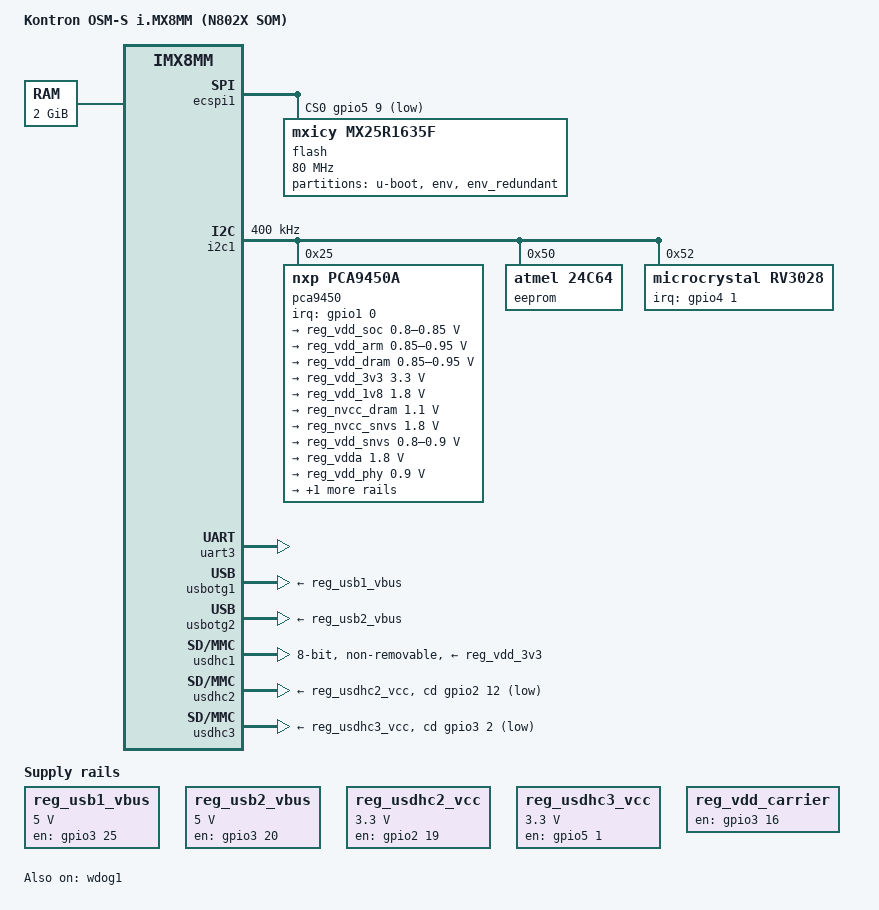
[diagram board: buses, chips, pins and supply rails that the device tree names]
// SPDX-License-Identifier: GPL-2.0+ OR MIT
/*
 * Copyright (C) 2022 Kontron Electronics GmbH
 */

#include <dt-bindings/gpio/gpio.h>
#include <dt-bindings/interrupt-controller/irq.h>
#include "imx8mm.dtsi"

/ {
	model = "Kontron OSM-S i.MX8MM (N802X SOM)";
	compatible = "kontron,imx8mm-osm-s", "fsl,imx8mm";

	aliases {
		rtc0 = &rv3028;
		rtc1 = &snvs_rtc;
	};

	memory@40000000 {
		device_type = "memory";
		/*
		 * There are multiple SoM flavors with different DDR sizes.
		 * The smallest is 1GB. For larger sizes the bootloader will
		 * update the reg property.
		 */
		reg = <0x0 0x40000000 0 0x80000000>;
	};

	chosen {
		stdout-path = &uart3;
	};

	reg_usb1_vbus: regulator-usb1-vbus {
		compatible = "regulator-fixed";
		pinctrl-names = "default";
		pinctrl-0 = <&pinctrl_reg_usb1_vbus>;
		enable-active-high;
		gpio = <&gpio3 25 GPIO_ACTIVE_HIGH>;
		regulator-min-microvolt = <5000000>;
		regulator-max-microvolt = <5000000>;
		regulator-name = "VBUS_USB_A";
	};

	reg_usb2_vbus: regulator-usb2-vbus {
		compatible = "regulator-fixed";
		pinctrl-names = "default";
		pinctrl-0 = <&pinctrl_reg_usb2_vbus>;
		enable-active-high;
		gpio = <&gpio3 20 GPIO_ACTIVE_HIGH>;
		regulator-min-microvolt = <5000000>;
		regulator-max-microvolt = <5000000>;
		regulator-name = "VBUS_USB_B";
	};

	reg_usdhc2_vcc: regulator-usdhc2-vcc {
		compatible = "regulator-fixed";
		pinctrl-names = "default";
		pinctrl-0 = <&pinctrl_reg_usdhc2_vcc>;
		enable-active-high;
		gpio = <&gpio2 19 GPIO_ACTIVE_HIGH>;
		regulator-min-microvolt = <3300000>;
		regulator-max-microvolt = <3300000>;
		regulator-name = "VCC_SDIO_A";
	};

	reg_usdhc3_vcc: regulator-usdhc3-vcc {
		compatible = "regulator-fixed";
		pinctrl-names = "default";
		pinctrl-0 = <&pinctrl_reg_usdhc3_vcc>;
		enable-active-high;
		gpio = <&gpio5 1 GPIO_ACTIVE_HIGH>;
		regulator-min-microvolt = <3300000>;
		regulator-max-microvolt = <3300000>;
		regulator-name = "VCC_SDIO_B";
	};

	reg_vdd_carrier: regulator-vdd-carrier {
		compatible = "regulator-fixed";
		pinctrl-names = "default";
		pinctrl-0 = <&pinctrl_reg_vdd_carrier>;
		gpio = <&gpio3 16 GPIO_ACTIVE_HIGH>;
		enable-active-high;
		regulator-always-on;
		regulator-boot-on;
		regulator-name = "VDD_CARRIER";

		regulator-state-standby {
			regulator-on-in-suspend;
		};

		regulator-state-mem {
			regulator-off-in-suspend;
		};

		regulator-state-disk {
			regulator-off-in-suspend;
		};
	};
};

&A53_0 {
	cpu-supply = <&reg_vdd_arm>;
};

&A53_1 {
	cpu-supply = <&reg_vdd_arm>;
};

&A53_2 {
	cpu-supply = <&reg_vdd_arm>;
};

&A53_3 {
	cpu-supply = <&reg_vdd_arm>;
};

&ddrc {
	operating-points-v2 = <&ddrc_opp_table>;

	ddrc_opp_table: opp-table {
		compatible = "operating-points-v2";

		opp-100000000 {
			opp-hz = /bits/ 64 <100000000>;
		};

		opp-750000000 {
			opp-hz = /bits/ 64 <750000000>;
		};
	};
};

&ecspi1 {
	pinctrl-names = "default";
	pinctrl-0 = <&pinctrl_ecspi1>;
	cs-gpios = <&gpio5 9 GPIO_ACTIVE_LOW>;
	status = "okay";

	flash@0 {
		compatible = "mxicy,mx25r1635f", "jedec,spi-nor";
		spi-max-frequency = <80000000>;
		reg = <0>;

		partitions {
			compatible = "fixed-partitions";
			#address-cells = <1>;
			#size-cells = <1>;

			partition@0 {
				label = "u-boot";
				reg = <0x0 0x1e0000>;
			};

			partition@1e0000 {
				label = "env";
				reg = <0x1e0000 0x10000>;
			};

			partition@1f0000 {
				label = "env_redundant";
				reg = <0x1f0000 0x10000>;
			};
		};
	};
};

&ecspi2 {
	pinctrl-names = "default";
	pinctrl-0 = <&pinctrl_ecspi2>, <&pinctrl_ecspi2_gpio>;
	cs-gpios = <&gpio5 13 GPIO_ACTIVE_LOW>;
};

&ecspi3 {
	pinctrl-names = "default";
	pinctrl-0 = <&pinctrl_ecspi3>;
	cs-gpios = <&gpio5 25 GPIO_ACTIVE_LOW>;
};

&gpio1 {
	pinctrl-names = "default";
	pinctrl-0 = <&pinctrl_gpio1>;
	gpio-line-names = "", "GPIO_A_0", "", "GPIO_A_1",
			  "", "GPIO_A_2", "GPIO_A_3", "GPIO_A_4",
			  "GPIO_A_5", "GPIO_A_6", "GPIO_A_7", "GPIO_B_0",
			  "GPIO_B_1", "USB_A_OC#", "CAM_MCK", "USB_B_OC#",
			  "ETH_MDC", "ETH_MDIO", "ETH_A_(S)(R)(G)MII_TXD3",
			  "ETH_A_(S)(R)(G)MII_TXD2", "ETH_A_(S)(R)(G)MII_TXD1",
			  "ETH_A_(S)(R)(G)MII_TXD0", "ETH_A_(R)(G)MII_TX_EN(_ER)",
			  "ETH_A_(R)(G)MII_TX_CLK", "ETH_A_(R)(G)MII_RX_DV(_ER)",
			  "ETH_A_(R)(G)MII_RX_CLK", "ETH_A_(S)(R)(G)MII_RXD0",
			  "ETH_A_(S)(R)(G)MII_RXD1", "ETH_A_(R)(G)MII_RXD2",
			  "ETH_A_(R)(G)MII_RXD3";
};

&gpio2 {
	gpio-line-names = "", "", "", "",
			  "", "", "", "",
			  "", "", "", "",
			  "SDIO_A_CD#", "SDIO_A_CLK", "SDIO_A_CMD", "SDIO_A_D0",
			  "SDIO_A_D1", "SDIO_A_D2", "SDIO_A_D3", "SDIO_A_PWR_EN",
			  "SDIO_A_WP";
};

&gpio3 {
	pinctrl-names = "default";
	pinctrl-0 = <&pinctrl_gpio3>;
	gpio-line-names = "GPIO_C_5", "GPIO_C_4", "SDIO_B_CD#", "SDIO_B_D5",
			  "SDIO_B_D6", "SDIO_B_D7", "GPIO_C_0", "GPIO_C_1",
			  "GPIO_C_2", "GPIO_C_3", "SDIO_B_D0", "SDIO_B_D1",
			  "SDIO_B_D2", "SDIO_B_D3", "", "SDIO_B_D4",
			  "CARRIER_PWR_EN", "SDIO_B_CLK", "SDIO_B_CMD", "GPIO_B_2",
			  "USB_B_EN", "GPIO_B_3", "PCIe_CLKREQ#", "PCIe_A_PERST#",
			  "PCIe_WAKE#", "USB_A_EN";
};

&gpio4 {
	pinctrl-names = "default";
	pinctrl-0 = <&pinctrl_gpio4>;
	gpio-line-names = "GPIO_C_7", "", "I2S_A_DATA_IN", "I2S_B_DATA_IN",
			  "GPIO_B_4", "BOOT_SEL0#", "BOOT_SEL1#", "",
			  "", "", "I2S_LRCLK", "I2S_BITCLK",
			  "I2S_A_DATA_OUT", "I2S_B_DATA_OUT", "GPIO_B_5", "GPIO_B_6",
			  "GPIO_B_7", "SPI_A_/WP_(IO2)", "SPI_A_/HOLD_(IO3)", "GPIO_C_6",
			  "I2S_MCLK", "UART_A_TX", "UART_A_RX", "UART_A_CTS",
			  "UART_A_RTS", "", "", "",
			  "PCIe_SM_ALERT", "UART_B_RTS", "UART_B_CTS", "UART_B_RX";
};

&gpio5 {
	gpio-line-names = "UART_B_TX", "SDIO_B_PWR_EN", "SDIO_B_WP", "PWM_2",
			  "PWM_1", "PWM_0", "", "",
			  "", "", "SPI_A_SCK", "SPI_A_SDO_(IO1)",
			  "SPI_A_SCK", "SPI_A_CS0#", "", "",
			  "I2C_A_SCL", "I2C_A_SDA", "I2C_B_SCL", "I2C_B_SDA",
			  "PCIe_SMCLK", "PCIe_SMDAT", "SPI_B_SCK", "SPI_B_SDO",
			  "SPI_B_SDI", "SPI_B_CS0#", "UART_CON_RX", "UART_CON_TX",
			  "UART_C_RX", "UART_C_TX";
};

&i2c1 {
	clock-frequency = <400000>;
	pinctrl-names = "default";
	pinctrl-0 = <&pinctrl_i2c1>;
	status = "okay";

	pca9450: pmic@25 {
		compatible = "nxp,pca9450a";
		reg = <0x25>;
		pinctrl-names = "default";
		pinctrl-0 = <&pinctrl_pmic>;
		interrupt-parent = <&gpio1>;
		interrupts = <0 IRQ_TYPE_LEVEL_LOW>;

		regulators {
			reg_vdd_soc: BUCK1 {
				regulator-name = "+0V8_VDD_SOC (BUCK1)";
				regulator-min-microvolt = <800000>;
				regulator-max-microvolt = <850000>;
				regulator-boot-on;
				regulator-always-on;
				regulator-ramp-delay = <3125>;
				nxp,dvs-run-voltage = <850000>;
				nxp,dvs-standby-voltage = <800000>;
			};

			reg_vdd_arm: BUCK2 {
				regulator-name = "+0V9_VDD_ARM (BUCK2)";
				regulator-min-microvolt = <850000>;
				regulator-max-microvolt = <950000>;
				regulator-boot-on;
				regulator-always-on;
				regulator-ramp-delay = <3125>;
				nxp,dvs-run-voltage = <950000>;
				nxp,dvs-standby-voltage = <850000>;
			};

			reg_vdd_dram: BUCK3 {
				regulator-name = "+0V9_VDD_DRAM&PU (BUCK3)";
				regulator-min-microvolt = <850000>;
				regulator-max-microvolt = <950000>;
				regulator-boot-on;
				regulator-always-on;
			};

			reg_vdd_3v3: BUCK4 {
				regulator-name = "+3V3 (BUCK4)";
				regulator-min-microvolt = <3300000>;
				regulator-max-microvolt = <3300000>;
				regulator-boot-on;
				regulator-always-on;
			};

			reg_vdd_1v8: BUCK5 {
				regulator-name = "+1V8 (BUCK5)";
				regulator-min-microvolt = <1800000>;
				regulator-max-microvolt = <1800000>;
				regulator-boot-on;
				regulator-always-on;
			};

			reg_nvcc_dram: BUCK6 {
				regulator-name = "+1V1_NVCC_DRAM (BUCK6)";
				regulator-min-microvolt = <1100000>;
				regulator-max-microvolt = <1100000>;
				regulator-boot-on;
				regulator-always-on;
			};

			reg_nvcc_snvs: LDO1 {
				regulator-name = "+1V8_NVCC_SNVS (LDO1)";
				regulator-min-microvolt = <1800000>;
				regulator-max-microvolt = <1800000>;
				regulator-boot-on;
				regulator-always-on;
			};

			reg_vdd_snvs: LDO2 {
				regulator-name = "+0V8_VDD_SNVS (LDO2)";
				regulator-min-microvolt = <800000>;
				regulator-max-microvolt = <900000>;
				regulator-boot-on;
				regulator-always-on;
			};

			reg_vdda: LDO3 {
				regulator-name = "+1V8_VDDA (LDO3)";
				regulator-min-microvolt = <1800000>;
				regulator-max-microvolt = <1800000>;
				regulator-boot-on;
				regulator-always-on;
			};

			reg_vdd_phy: LDO4 {
				regulator-name = "+0V9_VDD_PHY (LDO4)";
				regulator-min-microvolt = <900000>;
				regulator-max-microvolt = <900000>;
				regulator-boot-on;
				regulator-always-on;
			};

			reg_nvcc_sd: LDO5 {
				regulator-name = "NVCC_SD (LDO5)";
				regulator-min-microvolt = <1800000>;
				regulator-max-microvolt = <3300000>;
				sd-vsel-gpios = <&gpio1 4 GPIO_ACTIVE_HIGH>;
			};
		};
	};

	eeprom: eeprom@50 {
		compatible = "atmel,24c64";
		reg = <0x50>;
		address-width = <16>;
		pagesize = <32>;
		size = <8192>;
	};

	rv3028: rtc@52 {
		compatible = "microcrystal,rv3028";
		reg = <0x52>;
		pinctrl-names = "default";
		pinctrl-0 = <&pinctrl_rtc>;
		interrupts-extended = <&gpio4 1 IRQ_TYPE_LEVEL_LOW>;
	};
};

&i2c2 {
	pinctrl-names = "default";
	pinctrl-0 = <&pinctrl_i2c2>;
};

&i2c3 {
	pinctrl-names = "default";
	pinctrl-0 = <&pinctrl_i2c3>;
};

&i2c4 {
	pinctrl-names = "default";
	pinctrl-0 = <&pinctrl_i2c4>;
};

&pwm1 {
	pinctrl-names = "default";
	pinctrl-0 = <&pinctrl_pwm1>;
};

&pwm2 {
	pinctrl-names = "default";
	pinctrl-0 = <&pinctrl_pwm2>;
};

&pwm3 {
	pinctrl-names = "default";
	pinctrl-0 = <&pinctrl_pwm3>;
};

&uart1 {
	pinctrl-names = "default";
	pinctrl-0 = <&pinctrl_uart1>;
};

&uart2 {
	pinctrl-names = "default";
	pinctrl-0 = <&pinctrl_uart2>;
};

&uart3 { /* console */
	pinctrl-names = "default";
	pinctrl-0 = <&pinctrl_uart3>;
	status = "okay";
};

&uart4 {
	pinctrl-names = "default";
	pinctrl-0 = <&pinctrl_uart4>;
};

&usbotg1 {
	pinctrl-names = "default";
	pinctrl-0 = <&pinctrl_usb1>;
	vbus-supply = <&reg_usb1_vbus>;
};

&usbotg2 {
	pinctrl-names = "default";
	pinctrl-0 = <&pinctrl_usb2>;
	vbus-supply = <&reg_usb2_vbus>;
};

&usdhc1 {
	pinctrl-names = "default", "state_100mhz", "state_200mhz";
	pinctrl-0 = <&pinctrl_usdhc1>;
	pinctrl-1 = <&pinctrl_usdhc1_100mhz>;
	pinctrl-2 = <&pinctrl_usdhc1_200mhz>;
	vmmc-supply = <&reg_vdd_3v3>;
	vqmmc-supply = <&reg_vdd_1v8>;
	bus-width = <8>;
	non-removable;
	status = "okay";
};

&usdhc2 {
	pinctrl-names = "default", "state_100mhz", "state_200mhz";
	pinctrl-0 = <&pinctrl_usdhc2>, <&pinctrl_usdhc2_gpio>;
	pinctrl-1 = <&pinctrl_usdhc2_100mhz>, <&pinctrl_usdhc2_gpio>;
	pinctrl-2 = <&pinctrl_usdhc2_200mhz>, <&pinctrl_usdhc2_gpio>;
	vmmc-supply = <&reg_usdhc2_vcc>;
	vqmmc-supply = <&reg_nvcc_sd>;
	cd-gpios = <&gpio2 12 GPIO_ACTIVE_LOW>;
};

&usdhc3 {
	pinctrl-names = "default", "state_100mhz", "state_200mhz";
	pinctrl-0 = <&pinctrl_usdhc3>, <&pinctrl_usdhc3_gpio>;
	pinctrl-1 = <&pinctrl_usdhc3_100mhz>, <&pinctrl_usdhc3_gpio>;
	pinctrl-2 = <&pinctrl_usdhc3_200mhz>, <&pinctrl_usdhc3_gpio>;
	vmmc-supply = <&reg_usdhc3_vcc>;
	vqmmc-supply = <&reg_nvcc_sd>;
	cd-gpios = <&gpio3 2 GPIO_ACTIVE_LOW>;
};

&wdog1 {
	pinctrl-names = "default";
	pinctrl-0 = <&pinctrl_wdog>;
	fsl,ext-reset-output;
	status = "okay";
};

&iomuxc {
	pinctrl_csi_mck: csimckgrp {
		fsl,pins = <
			MX8MM_IOMUXC_GPIO1_IO14_CCMSRCGPCMIX_CLKO1	0x59 /* CAM_MCK */
		>;
	};

	pinctrl_ecspi1: ecspi1grp {
		fsl,pins = <
			MX8MM_IOMUXC_ECSPI1_MISO_ECSPI1_MISO		0x82
			MX8MM_IOMUXC_ECSPI1_MOSI_ECSPI1_MOSI		0x82
			MX8MM_IOMUXC_ECSPI1_SCLK_ECSPI1_SCLK		0x82
			MX8MM_IOMUXC_ECSPI1_SS0_GPIO5_IO9		0x19
		>;
	};

	pinctrl_ecspi2: ecspi2grp {
		fsl,pins = <
			MX8MM_IOMUXC_ECSPI2_MISO_ECSPI2_MISO		0x82 /* SPI_A_SDI_(IO0) */
			MX8MM_IOMUXC_ECSPI2_MOSI_ECSPI2_MOSI		0x82 /* SPI_A_SDO_(IO1) */
			MX8MM_IOMUXC_ECSPI2_SCLK_ECSPI2_SCLK		0x82 /* SPI_A_SCK */
			MX8MM_IOMUXC_ECSPI2_SS0_GPIO5_IO13		0x19 /* SPI_A_CS0# */
		>;
	};

	pinctrl_ecspi2_gpio: ecspi2gpiogrp {
		fsl,pins = <
			MX8MM_IOMUXC_SAI1_TXD5_GPIO4_IO17		0x19 /* SPI_A_/WP_(IO2) */
			MX8MM_IOMUXC_SAI1_TXD6_GPIO4_IO18		0x19 /* SPI_A_/HOLD_(IO3) */
		>;
	};

	pinctrl_ecspi3: ecspi3grp {
		fsl,pins = <
			MX8MM_IOMUXC_UART2_RXD_ECSPI3_MISO		0x82 /* SPI_B_SDI */
			MX8MM_IOMUXC_UART1_TXD_ECSPI3_MOSI		0x82 /* SPI_B_SDO */
			MX8MM_IOMUXC_UART1_RXD_ECSPI3_SCLK		0x82 /* SPI_B_SCK */
			MX8MM_IOMUXC_UART2_TXD_GPIO5_IO25		0x19 /* SPI_B_CS0# */
		>;
	};

	pinctrl_enet_rgmii: enetrgmiigrp {
		fsl,pins = <
			MX8MM_IOMUXC_ENET_MDC_ENET1_MDC			0x03 /* ETH_MDC */
			MX8MM_IOMUXC_ENET_MDIO_ENET1_MDIO		0x03 /* ETH_MDIO */
			MX8MM_IOMUXC_ENET_TD3_ENET1_RGMII_TD3		0x1f /* ETH_A_(S)(R)(G)MII_TXD3 */
			MX8MM_IOMUXC_ENET_TD2_ENET1_RGMII_TD2		0x1f /* ETH_A_(S)(R)(G)MII_TXD2 */
			MX8MM_IOMUXC_ENET_TD1_ENET1_RGMII_TD1		0x1f /* ETH_A_(S)(R)(G)MII_TXD1 */
			MX8MM_IOMUXC_ENET_TD0_ENET1_RGMII_TD0		0x1f /* ETH_A_(S)(R)(G)MII_TXD0 */
			MX8MM_IOMUXC_ENET_RD3_ENET1_RGMII_RD3		0x91 /* ETH_A_(R)(G)MII_RXD3 */
			MX8MM_IOMUXC_ENET_RD2_ENET1_RGMII_RD2		0x91 /* ETH_A_(R)(G)MII_RXD2 */
			MX8MM_IOMUXC_ENET_RD1_ENET1_RGMII_RD1		0x91 /* ETH_A_(S)(R)(G)MII_RXD1 */
			MX8MM_IOMUXC_ENET_RD0_ENET1_RGMII_RD0		0x91 /* ETH_A_(S)(R)(G)MII_RXD0 */
			MX8MM_IOMUXC_ENET_TXC_ENET1_RGMII_TXC		0x1f /* ETH_A_(R)(G)MII_TX_CLK */
			MX8MM_IOMUXC_ENET_RXC_ENET1_RGMII_RXC		0x91 /* ETH_A_(R)(G)MII_RX_CLK */
			MX8MM_IOMUXC_ENET_RX_CTL_ENET1_RGMII_RX_CTL	0x91 /* ETH_A_(R)(G)MII_RX_DV(_ER) */
			MX8MM_IOMUXC_ENET_TX_CTL_ENET1_RGMII_TX_CTL	0x1f /* ETH_A_(R)(G)MII_TX_EN(_ER) */
		>;
	};

	pinctrl_enet_rmii: enetrmiigrp {
		fsl,pins = <
			MX8MM_IOMUXC_ENET_MDC_ENET1_MDC			0x03 /* ETH_MDC */
			MX8MM_IOMUXC_ENET_MDIO_ENET1_MDIO		0x03 /* ETH_MDIO */
			MX8MM_IOMUXC_ENET_TD2_ENET1_TX_CLK		0x4000001f /* ETH_A_(S)(R)(G)MII_TXD2 */
			MX8MM_IOMUXC_ENET_TD1_ENET1_RGMII_TD1		0x56 /* ETH_A_(S)(R)(G)MII_TXD1 */
			MX8MM_IOMUXC_ENET_TD0_ENET1_RGMII_TD0		0x56 /* ETH_A_(S)(R)(G)MII_TXD0 */
			MX8MM_IOMUXC_ENET_RD1_ENET1_RGMII_RD1		0x56 /* ETH_A_(S)(R)(G)MII_RXD1 */
			MX8MM_IOMUXC_ENET_RD0_ENET1_RGMII_RD0		0x56 /* ETH_A_(S)(R)(G)MII_RXD0 */
			MX8MM_IOMUXC_ENET_RXC_ENET1_RX_ER		0x56 /* ETH_A_(R)(G)MII_RX_CLK */
			MX8MM_IOMUXC_ENET_RX_CTL_ENET1_RGMII_RX_CTL	0x56 /* ETH_A_(R)(G)MII_RX_DV(_ER) */
			MX8MM_IOMUXC_ENET_TX_CTL_ENET1_RGMII_TX_CTL	0x56 /* ETH_A_(R)(G)MII_TX_EN(_ER) */
		>;
	};

	pinctrl_gpio1: gpio1grp {
		fsl,pins = <
			MX8MM_IOMUXC_GPIO1_IO01_GPIO1_IO1		0x19 /* GPIO_A_0 */
			MX8MM_IOMUXC_GPIO1_IO03_GPIO1_IO3		0x19 /* GPIO_A_1 */
			MX8MM_IOMUXC_GPIO1_IO05_GPIO1_IO5		0x19 /* GPIO_A_2 */
			MX8MM_IOMUXC_GPIO1_IO06_GPIO1_IO6		0x19 /* GPIO_A_3 */
			MX8MM_IOMUXC_GPIO1_IO07_GPIO1_IO7		0x19 /* GPIO_A_4 */
			MX8MM_IOMUXC_GPIO1_IO08_GPIO1_IO8		0x19 /* GPIO_A_5 */
			MX8MM_IOMUXC_GPIO1_IO09_GPIO1_IO9		0x19 /* GPIO_A_6 */
			MX8MM_IOMUXC_GPIO1_IO10_GPIO1_IO10		0x19 /* GPIO_A_7 */
			MX8MM_IOMUXC_GPIO1_IO11_GPIO1_IO11		0x19 /* GPIO_B_0 */
			MX8MM_IOMUXC_GPIO1_IO12_GPIO1_IO12		0x19 /* GPIO_B_1 */
		>;
	};

	pinctrl_gpio3: gpio3grp {
		fsl,pins = <
			MX8MM_IOMUXC_NAND_ALE_GPIO3_IO0			0x19 /* GPIO_C_5 */
			MX8MM_IOMUXC_NAND_CE0_B_GPIO3_IO1		0x19 /* GPIO_C_4 */
			MX8MM_IOMUXC_NAND_DATA00_GPIO3_IO6		0x19 /* GPIO_C_0 */
			MX8MM_IOMUXC_NAND_DATA01_GPIO3_IO7		0x19 /* GPIO_C_1 */
			MX8MM_IOMUXC_NAND_DATA02_GPIO3_IO8		0x19 /* GPIO_C_2 */
			MX8MM_IOMUXC_NAND_DATA03_GPIO3_IO9		0x19 /* GPIO_C_3 */
			MX8MM_IOMUXC_SAI5_RXFS_GPIO3_IO19		0x19 /* GPIO_B_2 */
			MX8MM_IOMUXC_SAI5_RXD0_GPIO3_IO21		0x19 /* GPIO_B_3 */
		>;
	};

	pinctrl_gpio4: gpio4grp {
		fsl,pins = <
			MX8MM_IOMUXC_SAI1_RXFS_GPIO4_IO0		0x19 /* GPIO_C_7 */
			MX8MM_IOMUXC_SAI1_RXD2_GPIO4_IO4		0x19 /* GPIO_B_4 */
			MX8MM_IOMUXC_SAI1_RXD3_GPIO4_IO5		0x19 /* BOOT_SEL0# */
			MX8MM_IOMUXC_SAI1_RXD4_GPIO4_IO6		0x19 /* BOOT_SEL1# */
			MX8MM_IOMUXC_SAI1_TXD2_GPIO4_IO14		0x19 /* GPIO_B_5 */
			MX8MM_IOMUXC_SAI1_TXD3_GPIO4_IO15		0x19 /* GPIO_B_6 */
			MX8MM_IOMUXC_SAI1_TXD4_GPIO4_IO16		0x19 /* GPIO_B_7 */
			MX8MM_IOMUXC_SAI1_TXD7_GPIO4_IO19		0x19 /* GPIO_C_6 */
		>;
	};

	pinctrl_i2c1: i2c1grp {
		fsl,pins = <
			MX8MM_IOMUXC_I2C1_SCL_I2C1_SCL			0x40000083
			MX8MM_IOMUXC_I2C1_SDA_I2C1_SDA			0x40000083
		>;
	};

	pinctrl_i2c2: i2c2grp {
		fsl,pins = <
			MX8MM_IOMUXC_I2C2_SCL_I2C2_SCL			0x40000083 /* I2C_A_SCL */
			MX8MM_IOMUXC_I2C2_SDA_I2C2_SDA			0x40000083 /* I2C_A_SDA */
		>;
	};

	pinctrl_i2c3: i2c3grp {
		fsl,pins = <
			MX8MM_IOMUXC_I2C3_SCL_I2C3_SCL			0x40000083 /* I2C_B_SCL */
			MX8MM_IOMUXC_I2C3_SDA_I2C3_SDA			0x40000083 /* I2C_B_SDA */
		>;
	};

	pinctrl_i2c4: i2c4grp {
		fsl,pins = <
			MX8MM_IOMUXC_I2C4_SCL_I2C4_SCL			0x40000083 /* PCIe_SMCLK and I2C_CAM_SCL/CSI_TX_P */
			MX8MM_IOMUXC_I2C4_SDA_I2C4_SDA			0x40000083 /* PCIe_SMDAT and I2C_CAM_SDA/CSI_TX_N */
		>;
	};

	pinctrl_pcie: pciegrp {
		fsl,pins = <
			MX8MM_IOMUXC_SAI5_RXD1_GPIO3_IO22		0x19 /* PCIe_CLKREQ# */
			MX8MM_IOMUXC_SAI5_RXD2_GPIO3_IO23		0x19 /* PCIe_A_PERST# */
			MX8MM_IOMUXC_SAI5_RXD3_GPIO3_IO24		0x19 /* PCIe_WAKE# */
			MX8MM_IOMUXC_SAI3_RXFS_GPIO4_IO28		0x19 /* PCIe_SM_ALERT */
		>;
	};

	pinctrl_pmic: pmicgrp {
		fsl,pins = <
			MX8MM_IOMUXC_GPIO1_IO00_GPIO1_IO0		0x141
		>;
	};

	pinctrl_pwm1: pwm1grp {
		fsl,pins = <
			MX8MM_IOMUXC_SPDIF_EXT_CLK_PWM1_OUT		0x19 /* PWM_0 */
		>;
	};

	pinctrl_pwm2: pwm2grp {
		fsl,pins = <
			MX8MM_IOMUXC_SPDIF_RX_PWM2_OUT			0x19 /* PWM_1 */
		>;
	};

	pinctrl_pwm3: pwm3grp {
		fsl,pins = <
			MX8MM_IOMUXC_SPDIF_TX_PWM3_OUT			0x19 /* PWM_2 */
		>;
	};

	pinctrl_reg_usb1_vbus: regusb1vbusgrp {
		fsl,pins = <
			MX8MM_IOMUXC_SAI5_MCLK_GPIO3_IO25		0x19 /* USB_A_EN */
		>;
	};

	pinctrl_reg_usb2_vbus: regusb2vbusgrp {
		fsl,pins = <
			MX8MM_IOMUXC_SAI5_RXC_GPIO3_IO20		0x19 /* USB_B_EN */
		>;
	};

	pinctrl_reg_usdhc2_vcc: regusdhc2vccgrp {
		fsl,pins = <
			MX8MM_IOMUXC_SD2_RESET_B_GPIO2_IO19		0x19 /* SDIO_A_PWR_EN */
		>;
	};

	pinctrl_reg_usdhc3_vcc: regusdhc3vccgrp {
		fsl,pins = <
			MX8MM_IOMUXC_SAI3_TXD_GPIO5_IO1			0x19 /* SDIO_B_PWR_EN */
		>;
	};

	pinctrl_reg_vdd_carrier: regvddcarriergrp {
		fsl,pins = <
			MX8MM_IOMUXC_NAND_READY_B_GPIO3_IO16		0x19 /* CARRIER_PWR_EN */
		>;
	};

	pinctrl_rtc: rtcgrp {
		fsl,pins = <
			MX8MM_IOMUXC_SAI1_RXC_GPIO4_IO1			0x19
		>;
	};

	pinctrl_sai1: sai1grp {
		fsl,pins = <
			MX8MM_IOMUXC_SAI1_RXD0_SAI1_RX_DATA0		0xd6 /* I2S_A_DATA_IN */
			MX8MM_IOMUXC_SAI1_TXD0_SAI1_TX_DATA0		0xd6 /* I2S_A_DATA_OUT */
			MX8MM_IOMUXC_SAI1_RXD1_SAI1_RX_DATA1		0xd6 /* I2S_B_DATA_IN */
			MX8MM_IOMUXC_SAI1_TXD1_SAI1_TX_DATA1		0xd6 /* I2S_B_DATA_OUT */
			MX8MM_IOMUXC_SAI1_MCLK_SAI1_MCLK		0xd6 /* I2S_MCLK */
			MX8MM_IOMUXC_SAI1_TXFS_SAI1_TX_SYNC		0xd6 /* I2S_LRCLK */
			MX8MM_IOMUXC_SAI1_TXC_SAI1_TX_BCLK		0xd6 /* I2S_BITCLK */
		>;
	};

	pinctrl_uart1: uart1grp {
		fsl,pins = <
			MX8MM_IOMUXC_SAI2_RXC_UART1_DCE_RX		0x0 /* UART_A_RX */
			MX8MM_IOMUXC_SAI2_RXFS_UART1_DCE_TX		0x0 /* UART_A_TX */
			MX8MM_IOMUXC_SAI2_RXD0_UART1_DCE_RTS_B		0x0 /* UART_A_CTS */
			MX8MM_IOMUXC_SAI2_TXFS_UART1_DCE_CTS_B		0x0 /* UART_A_RTS */
		>;
	};

	pinctrl_uart2: uart2grp {
		fsl,pins = <
			MX8MM_IOMUXC_SAI3_TXFS_UART2_DCE_RX		0x0 /* UART_B_RX */
			MX8MM_IOMUXC_SAI3_TXC_UART2_DCE_TX		0x0 /* UART_B_TX */
			MX8MM_IOMUXC_SAI3_RXD_UART2_DCE_RTS_B		0x0 /* UART_B_CTS */
			MX8MM_IOMUXC_SAI3_RXC_UART2_DCE_CTS_B		0x0 /* UART_B_RTS */
		>;
	};

	pinctrl_uart3: uart3grp {
		fsl,pins = <
			MX8MM_IOMUXC_UART3_RXD_UART3_DCE_RX		0x140 /* UART_CON_RX */
			MX8MM_IOMUXC_UART3_TXD_UART3_DCE_TX		0x140 /* UART_CON_TX */
		>;
	};

	pinctrl_uart4: uart4grp {
		fsl,pins = <
			MX8MM_IOMUXC_UART4_RXD_UART4_DCE_RX		0x0 /* UART_C_RX */
			MX8MM_IOMUXC_UART4_TXD_UART4_DCE_TX		0x0 /* UART_C_TX */
		>;
	};

	pinctrl_usb1: usb1grp {
		fsl,pins = <
			MX8MM_IOMUXC_GPIO1_IO13_USB1_OTG_OC		0x19 /* USB_A_OC# */
		>;
	};

	pinctrl_usb2: usb2grp {
		fsl,pins = <
			MX8MM_IOMUXC_GPIO1_IO15_USB2_OTG_OC		0x19 /* USB_B_OC# */
		>;
	};

	pinctrl_usdhc1: usdhc1grp {
		fsl,pins = <
			MX8MM_IOMUXC_SD1_CLK_USDHC1_CLK			0x190
			MX8MM_IOMUXC_SD1_CMD_USDHC1_CMD			0x1d0
			MX8MM_IOMUXC_SD1_DATA0_USDHC1_DATA0		0x1d0
			MX8MM_IOMUXC_SD1_DATA1_USDHC1_DATA1		0x1d0
			MX8MM_IOMUXC_SD1_DATA2_USDHC1_DATA2		0x1d0
			MX8MM_IOMUXC_SD1_DATA3_USDHC1_DATA3		0x1d0
			MX8MM_IOMUXC_SD1_DATA4_USDHC1_DATA4		0x1d0
			MX8MM_IOMUXC_SD1_DATA5_USDHC1_DATA5		0x1d0
			MX8MM_IOMUXC_SD1_DATA6_USDHC1_DATA6		0x1d0
			MX8MM_IOMUXC_SD1_DATA7_USDHC1_DATA7		0x1d0
			MX8MM_IOMUXC_SD1_RESET_B_USDHC1_RESET_B		0x019
			MX8MM_IOMUXC_SD1_STROBE_USDHC1_STROBE		0x190
		>;
	};

	pinctrl_usdhc1_100mhz: usdhc1-100mhzgrp {
		fsl,pins = <
			MX8MM_IOMUXC_SD1_CLK_USDHC1_CLK			0x194
			MX8MM_IOMUXC_SD1_CMD_USDHC1_CMD			0x1d4
			MX8MM_IOMUXC_SD1_DATA0_USDHC1_DATA0		0x1d4
			MX8MM_IOMUXC_SD1_DATA1_USDHC1_DATA1		0x1d4
			MX8MM_IOMUXC_SD1_DATA2_USDHC1_DATA2		0x1d4
			MX8MM_IOMUXC_SD1_DATA3_USDHC1_DATA3		0x1d4
			MX8MM_IOMUXC_SD1_DATA4_USDHC1_DATA4		0x1d4
			MX8MM_IOMUXC_SD1_DATA5_USDHC1_DATA5		0x1d4
			MX8MM_IOMUXC_SD1_DATA6_USDHC1_DATA6		0x1d4
			MX8MM_IOMUXC_SD1_DATA7_USDHC1_DATA7		0x1d4
			MX8MM_IOMUXC_SD1_RESET_B_USDHC1_RESET_B		0x019
			MX8MM_IOMUXC_SD1_STROBE_USDHC1_STROBE		0x194
		>;
	};

	pinctrl_usdhc1_200mhz: usdhc1-200mhzgrp {
		fsl,pins = <
			MX8MM_IOMUXC_SD1_CLK_USDHC1_CLK			0x196
			MX8MM_IOMUXC_SD1_CMD_USDHC1_CMD			0x1d6
			MX8MM_IOMUXC_SD1_DATA0_USDHC1_DATA0		0x1d6
			MX8MM_IOMUXC_SD1_DATA1_USDHC1_DATA1		0x1d6
			MX8MM_IOMUXC_SD1_DATA2_USDHC1_DATA2		0x1d6
			MX8MM_IOMUXC_SD1_DATA3_USDHC1_DATA3		0x1d6
			MX8MM_IOMUXC_SD1_DATA4_USDHC1_DATA4		0x1d6
			MX8MM_IOMUXC_SD1_DATA5_USDHC1_DATA5		0x1d6
			MX8MM_IOMUXC_SD1_DATA6_USDHC1_DATA6		0x1d6
			MX8MM_IOMUXC_SD1_DATA7_USDHC1_DATA7		0x1d6
			MX8MM_IOMUXC_SD1_RESET_B_USDHC1_RESET_B		0x019
			MX8MM_IOMUXC_SD1_STROBE_USDHC1_STROBE		0x196
		>;
	};

	pinctrl_usdhc2: usdhc2grp {
		fsl,pins = <
			MX8MM_IOMUXC_SD2_CLK_USDHC2_CLK			0x90 /* SDIO_A_CLK */
			MX8MM_IOMUXC_SD2_CMD_USDHC2_CMD			0x1d0 /* SDIO_A_CMD */
			MX8MM_IOMUXC_SD2_DATA0_USDHC2_DATA0		0x1d0 /* SDIO_A_D0 */
			MX8MM_IOMUXC_SD2_DATA1_USDHC2_DATA1		0x1d0 /* SDIO_A_D1 */
			MX8MM_IOMUXC_SD2_DATA2_USDHC2_DATA2		0x1d0 /* SDIO_A_D2 */
			MX8MM_IOMUXC_SD2_DATA3_USDHC2_DATA3		0x1d0 /* SDIO_A_D3 */
			MX8MM_IOMUXC_SD2_WP_USDHC2_WP			0x400000d6 /* SDIO_A_WP */
			MX8MM_IOMUXC_GPIO1_IO04_USDHC2_VSELECT		0x40000090
		>;
	};

	pinctrl_usdhc2_100mhz: usdhc2-100mhzgrp {
		fsl,pins = <
			MX8MM_IOMUXC_SD2_CLK_USDHC2_CLK			0x94 /* SDIO_A_CLK */
			MX8MM_IOMUXC_SD2_CMD_USDHC2_CMD			0x1d4 /* SDIO_A_CMD */
			MX8MM_IOMUXC_SD2_DATA0_USDHC2_DATA0		0x1d4 /* SDIO_A_D0 */
			MX8MM_IOMUXC_SD2_DATA1_USDHC2_DATA1		0x1d4 /* SDIO_A_D1 */
			MX8MM_IOMUXC_SD2_DATA2_USDHC2_DATA2		0x1d4 /* SDIO_A_D2 */
			MX8MM_IOMUXC_SD2_DATA3_USDHC2_DATA3		0x1d4 /* SDIO_A_D3 */
			MX8MM_IOMUXC_SD2_WP_USDHC2_WP			0x400000d6 /* SDIO_A_WP */
			MX8MM_IOMUXC_GPIO1_IO04_USDHC2_VSELECT		0x40000090
		>;
	};

	pinctrl_usdhc2_200mhz: usdhc2-200mhzgrp {
		fsl,pins = <
			MX8MM_IOMUXC_SD2_CLK_USDHC2_CLK			0x96 /* SDIO_A_CLK */
			MX8MM_IOMUXC_SD2_CMD_USDHC2_CMD			0x1d6 /* SDIO_A_CMD */
			MX8MM_IOMUXC_SD2_DATA0_USDHC2_DATA0		0x1d6 /* SDIO_A_D0 */
			MX8MM_IOMUXC_SD2_DATA1_USDHC2_DATA1		0x1d6 /* SDIO_A_D1 */
			MX8MM_IOMUXC_SD2_DATA2_USDHC2_DATA2		0x1d6 /* SDIO_A_D2 */
			MX8MM_IOMUXC_SD2_DATA3_USDHC2_DATA3		0x1d6 /* SDIO_A_D3 */
			MX8MM_IOMUXC_SD2_WP_USDHC2_WP			0x400000d6 /* SDIO_A_WP */
			MX8MM_IOMUXC_GPIO1_IO04_USDHC2_VSELECT		0x40000090
		>;
	};

	pinctrl_usdhc2_gpio: usdhc2gpiogrp {
		fsl,pins = <
			MX8MM_IOMUXC_SD2_CD_B_GPIO2_IO12		0x19 /* SDIO_A_CD# */
		>;
	};

	pinctrl_usdhc3: usdhc3grp {
		fsl,pins = <
			MX8MM_IOMUXC_NAND_WE_B_USDHC3_CLK		0x90 /* SDIO_B_CLK */
			MX8MM_IOMUXC_NAND_WP_B_USDHC3_CMD		0x90 /* SDIO_B_CMD */
			MX8MM_IOMUXC_NAND_DATA04_USDHC3_DATA0		0x90 /* SDIO_B_D0 */
			MX8MM_IOMUXC_NAND_DATA05_USDHC3_DATA1		0x90 /* SDIO_B_D1 */
			MX8MM_IOMUXC_NAND_DATA06_USDHC3_DATA2		0x90 /* SDIO_B_D2 */
			MX8MM_IOMUXC_NAND_DATA07_USDHC3_DATA3		0x90 /* SDIO_B_D3 */
			MX8MM_IOMUXC_NAND_RE_B_USDHC3_DATA4		0x90 /* SDIO_B_D4 */
			MX8MM_IOMUXC_NAND_CE2_B_USDHC3_DATA5		0x90 /* SDIO_B_D5 */
			MX8MM_IOMUXC_NAND_CE3_B_USDHC3_DATA6		0x90 /* SDIO_B_D6 */
			MX8MM_IOMUXC_NAND_CLE_USDHC3_DATA7		0x90 /* SDIO_B_D7 */
		>;
	};

	pinctrl_usdhc3_100mhz: usdhc3-100mhzgrp {
		fsl,pins = <
			MX8MM_IOMUXC_NAND_WE_B_USDHC3_CLK		0x94 /* SDIO_B_CLK */
			MX8MM_IOMUXC_NAND_WP_B_USDHC3_CMD		0x94 /* SDIO_B_CMD */
			MX8MM_IOMUXC_NAND_DATA04_USDHC3_DATA0		0x94 /* SDIO_B_D0 */
			MX8MM_IOMUXC_NAND_DATA05_USDHC3_DATA1		0x94 /* SDIO_B_D1 */
			MX8MM_IOMUXC_NAND_DATA06_USDHC3_DATA2		0x94 /* SDIO_B_D2 */
			MX8MM_IOMUXC_NAND_DATA07_USDHC3_DATA3		0x94 /* SDIO_B_D3 */
			MX8MM_IOMUXC_NAND_RE_B_USDHC3_DATA4		0x94 /* SDIO_B_D4 */
			MX8MM_IOMUXC_NAND_CE2_B_USDHC3_DATA5		0x94 /* SDIO_B_D5 */
			MX8MM_IOMUXC_NAND_CE3_B_USDHC3_DATA6		0x94 /* SDIO_B_D6 */
			MX8MM_IOMUXC_NAND_CLE_USDHC3_DATA7		0x94 /* SDIO_B_D7 */
		>;
	};

	pinctrl_usdhc3_200mhz: usdhc3-200mhzgrp {
		fsl,pins = <
			MX8MM_IOMUXC_NAND_WE_B_USDHC3_CLK		0x96 /* SDIO_B_CLK */
			MX8MM_IOMUXC_NAND_WP_B_USDHC3_CMD		0x96 /* SDIO_B_CMD */
			MX8MM_IOMUXC_NAND_DATA04_USDHC3_DATA0		0x96 /* SDIO_B_D0 */
			MX8MM_IOMUXC_NAND_DATA05_USDHC3_DATA1		0x96 /* SDIO_B_D1 */
			MX8MM_IOMUXC_NAND_DATA06_USDHC3_DATA2		0x96 /* SDIO_B_D2 */
			MX8MM_IOMUXC_NAND_DATA07_USDHC3_DATA3		0x96 /* SDIO_B_D3 */
			MX8MM_IOMUXC_NAND_RE_B_USDHC3_DATA4		0x96 /* SDIO_B_D4 */
			MX8MM_IOMUXC_NAND_CE2_B_USDHC3_DATA5		0x96 /* SDIO_B_D5 */
			MX8MM_IOMUXC_NAND_CE3_B_USDHC3_DATA6		0x96 /* SDIO_B_D6 */
			MX8MM_IOMUXC_NAND_CLE_USDHC3_DATA7		0x96 /* SDIO_B_D7 */
		>;
	};

	pinctrl_usdhc3_gpio: usdhc3gpiogrp {
		fsl,pins = <
			MX8MM_IOMUXC_NAND_CE1_B_GPIO3_IO2		0x19 /* SDIO_B_CD# */
			MX8MM_IOMUXC_SAI3_MCLK_GPIO5_IO2		0x19 /* SDIO_B_WP */
		>;
	};

	pinctrl_wdog: wdoggrp {
		fsl,pins = <
			MX8MM_IOMUXC_GPIO1_IO02_WDOG1_WDOG_B		0xc6
		>;
	};
};
